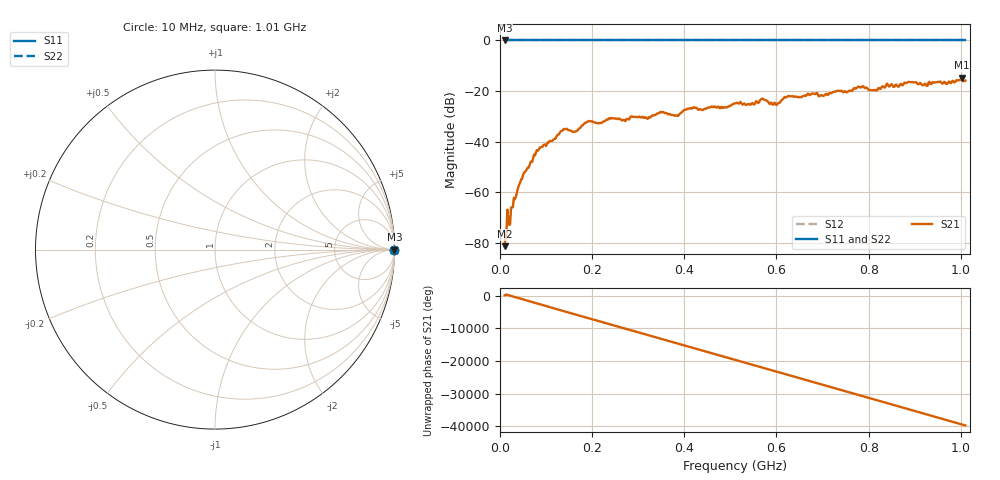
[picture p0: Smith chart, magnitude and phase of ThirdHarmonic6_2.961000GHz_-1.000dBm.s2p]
! 8/17/2025 8:21:24 AM
! C:\ANRITSUVNA\TEMP\TEMP.S2P
! CHANNEL.1
! TR.MEASUREMENT
! RAW.DATA
! RF.CORRECTION.OFF
! AVERAGING.OFF
! IF.BANDWIDTH: 5KHZ
! SWEEPTYPE:  FREQ.SWEEP(Linear)
! Reference Plane Port Info
! PORT:  PORT1  PORT2
! DISTANCE:  0  m  0  m
! TIME:  0  s  0  s
! PHASE.OFFSET:  0  deg.  0  deg.
! LOSS:  0  dB  0  dB
! REF.LOSS:  0  dB  0  dB
! REF.FREQ:  0  Hz  0  Hz
! Power Info
! POWER:  -20  dBm  -20  dBm
! EFF.POWER:  -20  dBm  -20  dBm
! SOURCE.ATTEN:  0  dB  0  dB
! TEST.ATTEN:  0  dB  0  dB
# GHZ S RI R 50.0
! FREQ.GHZ  S11RE  S11IM  S21RE  S21IM  S12RE  S12IM  S22RE  S22IM
!; PortSelection: Port_12
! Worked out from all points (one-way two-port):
!   501 points, 10 MHz to 1.01 GHz, reference 50 ohm
!   highest |S21| = -14.76 dB at 1.002 GHz (marker M1); lowest = -81.4 dB at 10 MHz (marker M2)
!   lowest |S11| = 0.0 dB at 10 MHz (marker M3)
!   |S11| at or under -10 dB: nowhere
!   |S22| runs from 0.0 to 0.0 dB; largest |S21 - S12| = 1.2
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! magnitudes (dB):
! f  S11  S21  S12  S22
! 10 MHz  0.0  -81.4  0.0  0.0
! 20 MHz  0.0  -73.0  0.0  0.0
! 42 MHz  0.0  -56.9  0.0  0.0
! 78 MHz  0.0  -44.4  0.0  0.0
! 136 MHz  0.0  -35.6  0.0  0.0
! 162 MHz  0.0  -36.1  0.0  0.0
! 178 MHz  0.0  -33.6  0.0  0.0
! 192 MHz  0.0  -31.9  0.0  0.0
! 322 MHz  0.0  -30.5  0.0  0.0
! 344 MHz  0.0  -28.8  0.0  0.0
! 384 MHz  0.0  -29.7  0.0  0.0
! 410 MHz  0.0  -27.0  0.0  0.0
! 510 MHz  0.0  -24.9  0.0  0.0
! 570 MHz  0.0  -23.0  0.0  0.0
! 596 MHz  0.0  -24.6  0.0  0.0
! 622 MHz  0.0  -22.5  0.0  0.0
! 678 MHz  0.0  -20.9  0.0  0.0
! 784 MHz  0.0  -18.6  0.0  0.0
! 814 MHz  0.0  -19.6  0.0  0.0
! 844 MHz  0.0  -18.2  0.0  0.0
! 1.002 GHz  0.0  -14.8  0.0  0.0
! 1.01 GHz  0.0  -15.9  0.0  0.0
